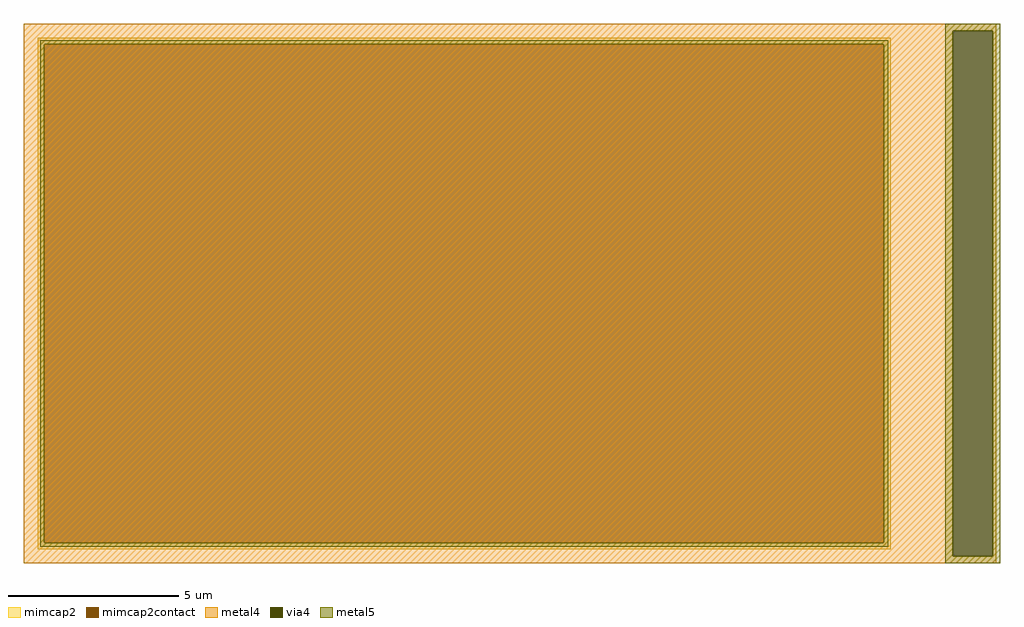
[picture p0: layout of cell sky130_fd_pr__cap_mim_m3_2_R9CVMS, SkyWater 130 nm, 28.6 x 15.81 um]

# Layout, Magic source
magic
tech sky130A
magscale 1 2
<< metal4 >>
rect -2849 1539 2849 1580
rect -2849 -1539 2593 1539
rect 2829 -1539 2849 1539
rect -2849 -1580 2849 -1539
<< via4 >>
rect 2593 -1539 2829 1539
<< mimcap2 >>
rect -2769 1460 2231 1500
rect -2769 -1460 -2729 1460
rect 2191 -1460 2231 1460
rect -2769 -1500 2231 -1460
<< mimcap2contact >>
rect -2729 -1460 2191 1460
<< metal5 >>
rect 2551 1539 2871 1581
rect -2753 1460 2215 1484
rect -2753 -1460 -2729 1460
rect 2191 -1460 2215 1460
rect -2753 -1484 2215 -1460
rect 2551 -1539 2593 1539
rect 2829 -1539 2871 1539
rect 2551 -1581 2871 -1539
<< properties >>
string FIXED_BBOX -2849 -1580 2311 1580
string gencell sky130_fd_pr__cap_mim_m3_2
string library sky130
string parameters w 25 l 15 val 765.2 carea 2.00 cperi 0.19 nx 1 ny 1 dummy 0 square 0 lmin 2.00 wmin 2.00 lmax 30.0 wmax 30.0 dc 0 bconnect 1 tconnect 1 ccov 100
<< end >>
